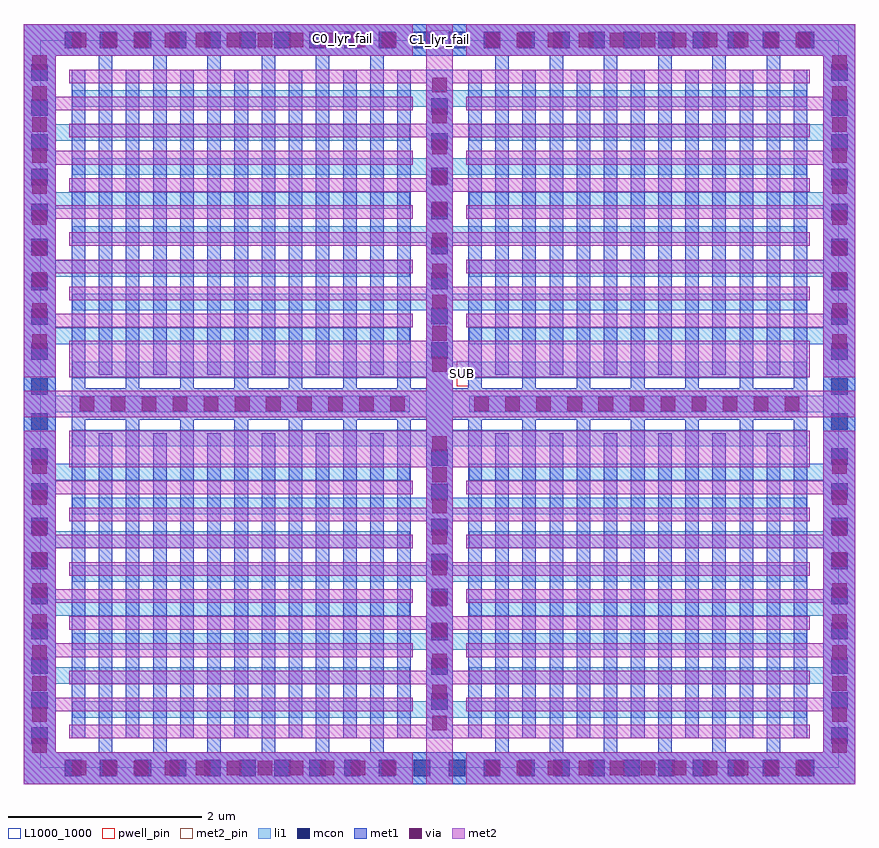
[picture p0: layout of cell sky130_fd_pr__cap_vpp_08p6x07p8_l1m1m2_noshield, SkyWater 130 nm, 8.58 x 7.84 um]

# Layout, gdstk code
import gdstk
lib = gdstk.Library(unit=1e-6, precision=1e-09)
def R(c, l, rs):  # rectangles x0, y0, x1, y1
    for r in rs: c.add(gdstk.rectangle(r[:2], r[2:], *l))
def A(c, l, x, y, w, h, nx, ny, dx, dy):  # array of equal rectangles
    R(c, l, [(x+i*dx, y+j*dy, x+i*dx+w, y+j*dy+h) for i in range(nx) for j in range(ny)])
def P(c, l, *ps):  # polygons
    for p in ps: c.add(gdstk.Polygon(p, *l))
li1 = (67, 20)
mcon = (67, 44)
met1 = (68, 20)
via = (68, 44)
met2_pin = (69, 16)
met2 = (69, 20)
pwell_pin = (122, 16)
L1000_1000 = (1000, 1000)

sky130_fd_pr__cap_vpp_08 = lib.new_cell('sky130_fd_pr__cap_vpp_08p6x07p8_l1m1m2_noshield')
P(sky130_fd_pr__cap_vpp_08, li1, [(0.5,0.685),(0.5,0.855),(4.155,0.855),(4.155,1.385),(0.5,1.385),(0.5,1.555),(4.155,1.555),(4.155,2.085),(0.5,2.085),(0.5,2.255),(4.155,2.255),(4.155,2.785),(0.5,2.785),(0.5,2.955),(4.155,2.955),(4.155,3.485),(0.5,3.485),(0.5,3.655),(4.155,3.655),(4.155,4.185),(0.5,4.185),(0.5,4.355),(4.155,4.355),(4.155,4.885),(0.5,4.885),(0.5,5.055),(4.155,5.055),(4.155,5.585),(0.5,5.585),(0.5,5.755),(4.155,5.755),(4.155,6.285),(0.5,6.285),(0.5,6.455),(4.155,6.455),(4.155,6.985),(0.5,6.985),(0.5,7.155),(8.08,7.155),(8.08,6.985),(4.425,6.985),(4.425,6.455),(8.08,6.455),(8.08,6.285),(4.425,6.285),(4.425,5.755),(8.08,5.755),(8.08,5.585),(4.425,5.585),(4.425,5.055),(8.08,5.055),(8.08,4.885),(4.425,4.885),(4.425,4.355),(8.08,4.355),(8.08,4.185),(4.425,4.185),(4.425,3.655),(8.08,3.655),(8.08,3.485),(4.425,3.485),(4.425,2.955),(8.08,2.955),(8.08,2.785),(4.425,2.785),(4.425,2.255),(8.08,2.255),(8.08,2.085),(4.425,2.085),(4.425,1.555),(8.08,1.555),(8.08,1.385),(4.425,1.385),(4.425,0.855),(8.08,0.855),(8.08,0.685)],
  [(0,0),(0,7.84),(8.25,7.84),(8.25,7.51),(0.33,7.51),(0.33,6.805),(3.985,6.805),(3.985,6.635),(0.33,6.635),(0.33,6.105),(3.985,6.105),(3.985,5.935),(0.33,5.935),(0.33,5.405),(3.985,5.405),(3.985,5.235),(0.33,5.235),(0.33,4.705),(3.985,4.705),(3.985,4.535),(0.33,4.535),(0.33,4.005),(3.985,4.005),(3.985,3.835),(0.33,3.835),(0.33,3.305),(3.985,3.305),(3.985,3.135),(0.33,3.135),(0.33,2.605),(3.985,2.605),(3.985,2.435),(0.33,2.435),(0.33,1.905),(3.985,1.905),(3.985,1.735),(0.33,1.735),(0.33,1.205),(3.985,1.205),(3.985,1.035),(0.33,1.035),(0.33,0.33),(8.25,0.33),(8.25,1.035),(4.595,1.035),(4.595,1.205),(8.25,1.205),(8.25,1.735),(4.595,1.735),(4.595,1.905),(8.25,1.905),(8.25,2.435),(4.595,2.435),(4.595,2.605),(8.25,2.605),(8.25,3.135),(4.595,3.135),(4.595,3.305),(8.25,3.305),(8.25,3.835),(4.595,3.835),(4.595,4.005),(8.25,4.005),(8.25,4.535),(4.595,4.535),(4.595,4.705),(8.25,4.705),(8.25,5.235),(4.595,5.235),(4.595,5.405),(8.25,5.405),(8.25,5.935),(4.595,5.935),(4.595,6.105),(8.25,6.105),(8.25,6.635),(4.595,6.635),(4.595,6.805),(8.25,6.805),(8.25,7.84),(8.58,7.84),(8.58,0)])
A(sky130_fd_pr__cap_vpp_08, mcon, 0.425, 0.08, 0.17, 0.17, 22, 2, 0.36, 7.51)
A(sky130_fd_pr__cap_vpp_08, mcon, 0.08, 0.415, 0.17, 0.17, 1, 20, 0, 0.36)
A(sky130_fd_pr__cap_vpp_08, mcon, 8.33, 0.415, 0.17, 0.17, 1, 20, 0, 0.36)
A(sky130_fd_pr__cap_vpp_08, mcon, 4.205, 0.765, 0.17, 0.17, 1, 8, 0, 0.36)
A(sky130_fd_pr__cap_vpp_08, mcon, 4.205, 4.385, 0.17, 0.17, 1, 8, 0, 0.36)
P(sky130_fd_pr__cap_vpp_08, met1, [(0.495,0.47),(0.495,7.37),(0.635,7.37),(0.635,4.08),(1.055,4.08),(1.055,7.37),(1.195,7.37),(1.195,4.08),(1.615,4.08),(1.615,7.37),(1.755,7.37),(1.755,4.08),(2.175,4.08),(2.175,7.37),(2.315,7.37),(2.315,4.08),(2.735,4.08),(2.735,7.37),(2.875,7.37),(2.875,4.08),(3.295,4.08),(3.295,7.37),(3.435,7.37),(3.435,4.08),(3.855,4.08),(3.855,7.37),(3.995,7.37),(3.995,4.08),(4.155,4.08),(4.155,7.37),(4.425,7.37),(4.425,4.08),(4.585,4.08),(4.585,7.37),(4.725,7.37),(4.725,4.08),(5.145,4.08),(5.145,7.37),(5.285,7.37),(5.285,4.08),(5.705,4.08),(5.705,7.37),(5.845,7.37),(5.845,4.08),(6.265,4.08),(6.265,7.37),(6.405,7.37),(6.405,4.08),(6.825,4.08),(6.825,7.37),(6.965,7.37),(6.965,4.08),(7.385,4.08),(7.385,7.37),(7.525,7.37),(7.525,4.08),(7.945,4.08),(7.945,7.37),(8.085,7.37),(8.085,0.47),(7.945,0.47),(7.945,3.76),(7.525,3.76),(7.525,0.47),(7.385,0.47),(7.385,3.76),(6.965,3.76),(6.965,0.47),(6.825,0.47),(6.825,3.76),(6.405,3.76),(6.405,0.47),(6.265,0.47),(6.265,3.76),(5.845,3.76),(5.845,0.47),(5.705,0.47),(5.705,3.76),(5.285,3.76),(5.285,0.47),(5.145,0.47),(5.145,3.76),(4.725,3.76),(4.725,0.47),(4.585,0.47),(4.585,3.76),(4.425,3.76),(4.425,0.47),(4.155,0.47),(4.155,3.76),(3.995,3.76),(3.995,0.47),(3.855,0.47),(3.855,3.76),(3.435,3.76),(3.435,0.47),(3.295,0.47),(3.295,3.76),(2.875,3.76),(2.875,0.47),(2.735,0.47),(2.735,3.76),(2.315,3.76),(2.315,0.47),(2.175,0.47),(2.175,3.76),(1.755,3.76),(1.755,0.47),(1.615,0.47),(1.615,3.76),(1.195,3.76),(1.195,0.47),(1.055,0.47),(1.055,3.76),(0.635,3.76),(0.635,0.47)],
  [(0,0),(0,7.84),(8.25,7.84),(8.25,7.51),(7.805,7.51),(7.805,4.22),(7.665,4.22),(7.665,7.51),(7.245,7.51),(7.245,4.22),(7.105,4.22),(7.105,7.51),(6.685,7.51),(6.685,4.22),(6.545,4.22),(6.545,7.51),(6.125,7.51),(6.125,4.22),(5.985,4.22),(5.985,7.51),(5.565,7.51),(5.565,4.22),(5.425,4.22),(5.425,7.51),(5.005,7.51),(5.005,4.22),(4.865,4.22),(4.865,7.51),(3.715,7.51),(3.715,4.22),(3.575,4.22),(3.575,7.51),(3.155,7.51),(3.155,4.22),(3.015,4.22),(3.015,7.51),(2.595,7.51),(2.595,4.22),(2.455,4.22),(2.455,7.51),(2.035,7.51),(2.035,4.22),(1.895,4.22),(1.895,7.51),(1.475,7.51),(1.475,4.22),(1.335,4.22),(1.335,7.51),(0.915,7.51),(0.915,4.22),(0.775,4.22),(0.775,7.51),(0.33,7.51),(0.33,0.33),(0.775,0.33),(0.775,3.62),(0.915,3.62),(0.915,0.33),(1.335,0.33),(1.335,3.62),(1.475,3.62),(1.475,0.33),(1.895,0.33),(1.895,3.62),(2.035,3.62),(2.035,0.33),(2.455,0.33),(2.455,3.62),(2.595,3.62),(2.595,0.33),(3.015,0.33),(3.015,3.62),(3.155,3.62),(3.155,0.33),(3.575,0.33),(3.575,3.62),(3.715,3.62),(3.715,0.33),(4.865,0.33),(4.865,3.62),(5.005,3.62),(5.005,0.33),(5.425,0.33),(5.425,3.62),(5.565,3.62),(5.565,0.33),(5.985,0.33),(5.985,3.62),(6.125,3.62),(6.125,0.33),(6.545,0.33),(6.545,3.62),(6.685,3.62),(6.685,0.33),(7.105,0.33),(7.105,3.62),(7.245,3.62),(7.245,0.33),(7.665,0.33),(7.665,3.62),(7.805,3.62),(7.805,0.33),(8.25,0.33),(8.25,7.84),(8.58,7.84),(8.58,0)])
A(sky130_fd_pr__cap_vpp_08, via, 0.09, 0.32, 0.15, 0.15, 1, 10, 0, 0.32)
A(sky130_fd_pr__cap_vpp_08, via, 8.34, 0.32, 0.15, 0.15, 1, 10, 0, 0.32)
A(sky130_fd_pr__cap_vpp_08, via, 4.215, 0.555, 0.15, 0.15, 1, 10, 0, 0.32)
A(sky130_fd_pr__cap_vpp_08, via, 0.58, 3.845, 0.15, 0.15, 11, 1, 0.32, 0)
A(sky130_fd_pr__cap_vpp_08, via, 4.65, 3.845, 0.15, 0.15, 11, 1, 0.32, 0)
A(sky130_fd_pr__cap_vpp_08, via, 4.215, 4.255, 0.15, 0.15, 1, 10, 0, 0.32)
A(sky130_fd_pr__cap_vpp_08, via, 0.09, 4.49, 0.15, 0.15, 1, 10, 0, 0.32)
A(sky130_fd_pr__cap_vpp_08, via, 8.34, 4.49, 0.15, 0.15, 1, 10, 0, 0.32)
R(sky130_fd_pr__cap_vpp_08, via, [(0.495,0.09,0.645,0.24), (0.495,0.09,0.645,0.24), (0.815,0.09,0.965,0.24), (0.815,0.09,0.965,0.24), (1.135,0.09,1.285,0.24), (1.135,0.09,1.285,0.24), (1.455,0.09,1.605,0.24), (1.455,0.09,1.605,0.24), (1.775,0.09,1.925,0.24), (1.775,0.09,1.925,0.24), (2.095,0.09,2.245,0.24), (2.095,0.09,2.245,0.24), (2.415,0.09,2.565,0.24), (2.415,0.09,2.565,0.24), (2.735,0.09,2.885,0.24), (2.735,0.09,2.885,0.24), (3.055,0.09,3.205,0.24), (3.055,0.09,3.205,0.24), (3.375,0.09,3.525,0.24), (3.375,0.09,3.525,0.24), (3.695,0.09,3.845,0.24), (3.695,0.09,3.845,0.24), (4.765,0.09,4.915,0.24), (4.765,0.09,4.915,0.24), (5.085,0.09,5.235,0.24), (5.085,0.09,5.235,0.24), (5.405,0.09,5.555,0.24), (5.405,0.09,5.555,0.24), (5.725,0.09,5.875,0.24), (5.725,0.09,5.875,0.24), (6.045,0.09,6.195,0.24), (6.045,0.09,6.195,0.24), (6.365,0.09,6.515,0.24), (6.365,0.09,6.515,0.24), (6.685,0.09,6.835,0.24), (6.685,0.09,6.835,0.24), (7.005,0.09,7.155,0.24), (7.005,0.09,7.155,0.24), (7.325,0.09,7.475,0.24), (7.325,0.09,7.475,0.24), (7.645,0.09,7.795,0.24), (7.645,0.09,7.795,0.24), (7.965,0.09,8.115,0.24), (7.965,0.09,8.115,0.24), (0.495,7.6,0.645,7.75), (0.495,7.6,0.645,7.75), (0.815,7.6,0.965,7.75), (0.815,7.6,0.965,7.75), (1.135,7.6,1.285,7.75), (1.135,7.6,1.285,7.75), (1.455,7.6,1.605,7.75), (1.455,7.6,1.605,7.75), (1.775,7.6,1.925,7.75), (1.775,7.6,1.925,7.75), (2.095,7.6,2.245,7.75), (2.095,7.6,2.245,7.75), (2.415,7.6,2.565,7.75), (2.415,7.6,2.565,7.75), (2.735,7.6,2.885,7.75), (2.735,7.6,2.885,7.75), (3.055,7.6,3.205,7.75), (3.055,7.6,3.205,7.75), (3.375,7.6,3.525,7.75), (3.375,7.6,3.525,7.75), (3.695,7.6,3.845,7.75), (3.695,7.6,3.845,7.75), (4.765,7.6,4.915,7.75), (4.765,7.6,4.915,7.75), (5.085,7.6,5.235,7.75), (5.085,7.6,5.235,7.75), (5.405,7.6,5.555,7.75), (5.405,7.6,5.555,7.75), (5.725,7.6,5.875,7.75), (5.725,7.6,5.875,7.75), (6.045,7.6,6.195,7.75), (6.045,7.6,6.195,7.75), (6.365,7.6,6.515,7.75), (6.365,7.6,6.515,7.75), (6.685,7.6,6.835,7.75), (6.685,7.6,6.835,7.75), (7.005,7.6,7.155,7.75), (7.005,7.6,7.155,7.75), (7.325,7.6,7.475,7.75), (7.325,7.6,7.475,7.75), (7.645,7.6,7.795,7.75), (7.645,7.6,7.795,7.75), (7.965,7.6,8.115,7.75), (7.965,7.6,8.115,7.75)])
R(sky130_fd_pr__cap_vpp_08, met2_pin, [(4.2,7.59,4.39,7.775), (3.225,7.615,3.355,7.765)])
P(sky130_fd_pr__cap_vpp_08, met2, [(4.155,0),(4.155,0.47),(0.47,0.47),(0.47,0.61),(4.155,0.61),(4.155,1.03),(0.47,1.03),(0.47,1.17),(4.155,1.17),(4.155,1.59),(0.47,1.59),(0.47,1.73),(4.155,1.73),(4.155,2.15),(0.47,2.15),(0.47,2.29),(4.155,2.29),(4.155,2.71),(0.47,2.71),(0.47,2.85),(4.155,2.85),(4.155,3.27),(0.47,3.27),(0.47,3.645),(4.155,3.645),(4.155,3.785),(0,3.785),(0,4.055),(4.155,4.055),(4.155,4.195),(0.47,4.195),(0.47,4.57),(4.155,4.57),(4.155,4.99),(0.47,4.99),(0.47,5.13),(4.155,5.13),(4.155,5.55),(0.47,5.55),(0.47,5.69),(4.155,5.69),(4.155,6.11),(0.47,6.11),(0.47,6.25),(4.155,6.25),(4.155,6.67),(0.47,6.67),(0.47,6.81),(4.155,6.81),(4.155,7.23),(0.47,7.23),(0.47,7.37),(4.155,7.37),(4.155,7.84),(4.425,7.84),(4.425,7.37),(8.11,7.37),(8.11,7.23),(4.425,7.23),(4.425,6.81),(8.11,6.81),(8.11,6.67),(4.425,6.67),(4.425,6.25),(8.11,6.25),(8.11,6.11),(4.425,6.11),(4.425,5.69),(8.11,5.69),(8.11,5.55),(4.425,5.55),(4.425,5.13),(8.11,5.13),(8.11,4.99),(4.425,4.99),(4.425,4.57),(8.11,4.57),(8.11,4.195),(4.425,4.195),(4.425,4.055),(8.58,4.055),(8.58,3.785),(4.425,3.785),(4.425,3.645),(8.11,3.645),(8.11,3.27),(4.425,3.27),(4.425,2.85),(8.11,2.85),(8.11,2.71),(4.425,2.71),(4.425,2.29),(8.11,2.29),(8.11,2.15),(4.425,2.15),(4.425,1.73),(8.11,1.73),(8.11,1.59),(4.425,1.59),(4.425,1.17),(8.11,1.17),(8.11,1.03),(4.425,1.03),(4.425,0.61),(8.11,0.61),(8.11,0.47),(4.425,0.47),(4.425,0)],
  [(4.565,0),(4.565,0.33),(8.25,0.33),(8.25,0.75),(4.565,0.75),(4.565,0.89),(8.25,0.89),(8.25,1.31),(4.565,1.31),(4.565,1.45),(8.25,1.45),(8.25,1.87),(4.565,1.87),(4.565,2.01),(8.25,2.01),(8.25,2.43),(4.565,2.43),(4.565,2.57),(8.25,2.57),(8.25,2.99),(4.565,2.99),(4.565,3.13),(8.25,3.13),(8.25,3.645),(8.58,3.645),(8.58,0)],
  [(0,4.195),(0,7.84),(4.015,7.84),(4.015,7.51),(0.33,7.51),(0.33,7.09),(4.015,7.09),(4.015,6.95),(0.33,6.95),(0.33,6.53),(4.015,6.53),(4.015,6.39),(0.33,6.39),(0.33,5.97),(4.015,5.97),(4.015,5.83),(0.33,5.83),(0.33,5.41),(4.015,5.41),(4.015,5.27),(0.33,5.27),(0.33,4.85),(4.015,4.85),(4.015,4.71),(0.33,4.71),(0.33,4.195)],
  [(8.25,4.195),(8.25,4.71),(4.565,4.71),(4.565,4.85),(8.25,4.85),(8.25,5.27),(4.565,5.27),(4.565,5.41),(8.25,5.41),(8.25,5.83),(4.565,5.83),(4.565,5.97),(8.25,5.97),(8.25,6.39),(4.565,6.39),(4.565,6.53),(8.25,6.53),(8.25,6.95),(4.565,6.95),(4.565,7.09),(8.25,7.09),(8.25,7.51),(4.565,7.51),(4.565,7.84),(8.58,7.84),(8.58,4.195)],
  [(0,0),(0,3.645),(0.33,3.645),(0.33,3.13),(4.015,3.13),(4.015,2.99),(0.33,2.99),(0.33,2.57),(4.015,2.57),(4.015,2.43),(0.33,2.43),(0.33,2.01),(4.015,2.01),(4.015,1.87),(0.33,1.87),(0.33,1.45),(4.015,1.45),(4.015,1.31),(0.33,1.31),(0.33,0.89),(4.015,0.89),(4.015,0.75),(0.33,0.75),(0.33,0.33),(4.015,0.33),(4.015,0)])
R(sky130_fd_pr__cap_vpp_08, pwell_pin, [(4.47,4.105,4.59,4.36)])
R(sky130_fd_pr__cap_vpp_08, L1000_1000, [(0.17,0.17,8.41,7.67)])
sky130_fd_pr__cap_vpp_08.add(gdstk.Label('SUB', (4.53,4.23), layer=64, texttype=59))
sky130_fd_pr__cap_vpp_08.add(gdstk.Label('C1_lyr_fail', (4.295,7.68), layer=69, texttype=5))
sky130_fd_pr__cap_vpp_08.add(gdstk.Label('C0_lyr_fail', (3.29,7.69), layer=69, texttype=5))

lib.write_gds('sky130_fd_pr__cap_vpp_08p6x07p8_l1m1m2_noshield.gds')
